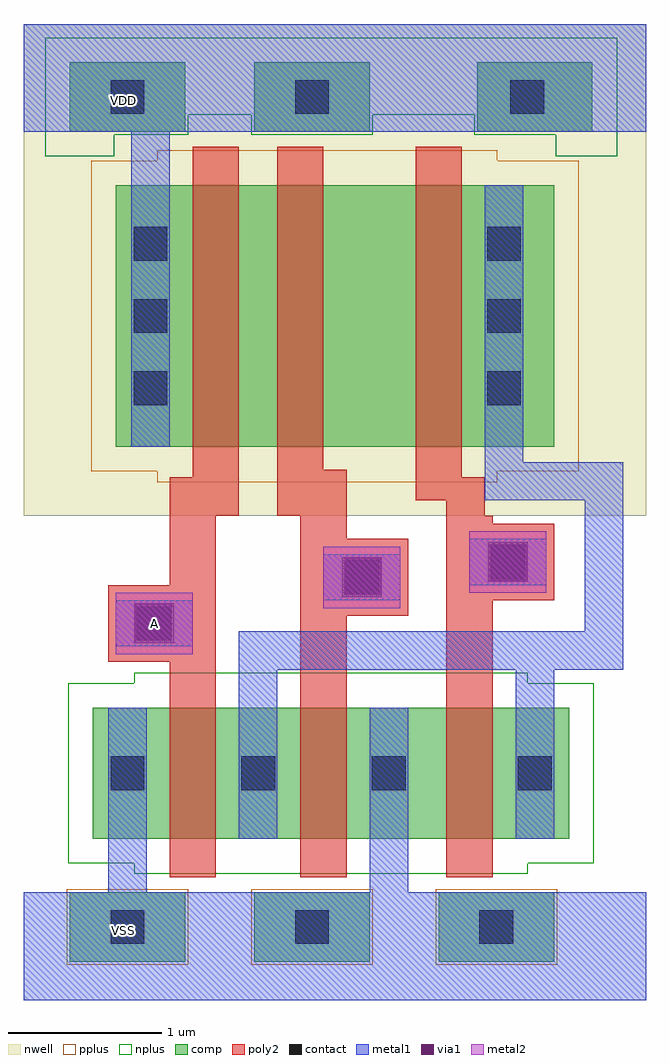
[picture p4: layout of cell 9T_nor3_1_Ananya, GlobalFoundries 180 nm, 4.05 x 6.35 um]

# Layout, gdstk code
import gdstk
lib = gdstk.Library(unit=1e-6, precision=1e-09)
def R(c, l, rs):  # rectangles x0, y0, x1, y1
    for r in rs: c.add(gdstk.rectangle(r[:2], r[2:], *l))
def A(c, l, x, y, w, h, nx, ny, dx, dy):  # array of equal rectangles
    R(c, l, [(x+i*dx, y+j*dy, x+i*dx+w, y+j*dy+h) for i in range(nx) for j in range(ny)])
nwell = (21, 0)
comp = (22, 0)
poly2 = (30, 0)
pplus = (31, 0)
nplus = (32, 0)
contact = (33, 0)
metal1 = (34, 0)
via1 = (35, 0)
metal2 = (36, 0)

c_9t_nor3_1_ananya = lib.new_cell('9T_nor3_1_Ananya')
R(c_9t_nor3_1_ananya, nwell, [(0,3.15,4.05,6.35)])
A(c_9t_nor3_1_ananya, comp, 0.3, 0.25, 0.75, 0.45, 3, 1, 1.2, 0)
R(c_9t_nor3_1_ananya, comp, [(0.45,1.05,3.55,1.9), (0.6,3.6,3.45,5.3), (0.3,5.65,1.05,6.1), (1.5,5.65,2.25,6.1), (2.95,5.65,3.7,6.1)])
R(c_9t_nor3_1_ananya, poly2, [(0.95,0.8,1.25,2.2), (1.8,0.8,2.1,2.5), (2.75,0.8,3.05,2.6), (0.55,2.2,1.25,2.7), (1.8,2.5,2.5,3), (2.75,2.6,3.45,3.1), (0.95,2.7,1.25,3.15), (1.8,3,2.1,3.15), (2.75,3.1,3.05,3.15), (0.95,3.15,1.4,3.4), (1.65,3.15,2.1,3.45), (2.75,3.15,3,3.25), (2.55,3.25,3,3.4), (1.1,3.4,1.4,5.55), (2.55,3.4,2.85,5.55), (1.65,3.45,1.95,5.55)])
A(c_9t_nor3_1_ananya, pplus, 0.28, 0.23, 0.79, 0.49, 3, 1, 1.2, 0)
R(c_9t_nor3_1_ananya, pplus, [(0.87,3.37,3.08,3.44), (0.44,3.44,3.61,5.46), (0.87,5.46,3.08,5.53)])
R(c_9t_nor3_1_ananya, nplus, [(0.72,0.82,3.28,0.89), (0.29,0.89,3.71,2.06), (0.72,2.06,3.28,2.13), (0.14,5.49,0.59,5.63), (3.46,5.49,3.86,5.63), (0.14,5.63,1.07,5.76), (1.48,5.63,2.27,5.76), (2.93,5.63,3.86,5.76), (0.14,5.76,3.86,6.26)])
A(c_9t_nor3_1_ananya, contact, 0.565, 0.365, 0.22, 0.22, 3, 1, 1.2, 0)
A(c_9t_nor3_1_ananya, contact, 0.565, 1.365, 0.22, 0.22, 3, 1, 0.85, 0)
A(c_9t_nor3_1_ananya, contact, 0.715, 3.87, 0.22, 0.22, 1, 3, 0, 0.47)
A(c_9t_nor3_1_ananya, contact, 3.015, 3.87, 0.22, 0.22, 1, 3, 0, 0.47)
R(c_9t_nor3_1_ananya, contact, [(3.215,1.365,3.435,1.585), (0.74,2.34,0.96,2.56), (2.09,2.64,2.31,2.86), (3.04,2.74,3.26,2.96), (0.565,5.765,0.785,5.985), (1.765,5.765,1.985,5.985), (3.165,5.765,3.385,5.985)])
R(c_9t_nor3_1_ananya, metal1, [(0,0,4.05,0.7), (0.55,0.7,0.8,1.9), (2.25,0.7,2.5,1.9), (1.4,1.05,1.65,2.15), (3.2,1.05,3.45,2.15), (1.4,2.15,3.9,2.4), (0.6,2.3,1.1,2.6), (3.65,2.4,3.9,3.25), (1.95,2.6,2.45,2.9), (2.9,2.7,3.4,3), (3,3.25,3.9,3.5), (3,3.5,3.25,5.3), (0.7,3.6,0.95,5.65), (0,5.65,4.05,6.35)])
R(c_9t_nor3_1_ananya, via1, [(0.72,2.32,0.98,2.58), (2.07,2.62,2.33,2.88), (3.02,2.72,3.28,2.98)])
R(c_9t_nor3_1_ananya, metal2, [(0.6,2.25,1.1,2.65), (1.95,2.55,2.45,2.95), (2.9,2.65,3.4,3.05)])
c_9t_nor3_1_ananya.add(gdstk.Label('A', (0.85,2.45), layer=36, texttype=10))
c_9t_nor3_1_ananya.add(gdstk.Label('VDD', (0.65,5.85), layer=22, texttype=0))
c_9t_nor3_1_ananya.add(gdstk.Label('VSS', (0.65,0.45), layer=22, texttype=0))

lib.write_gds('9T_nor3_1_Ananya.gds')
